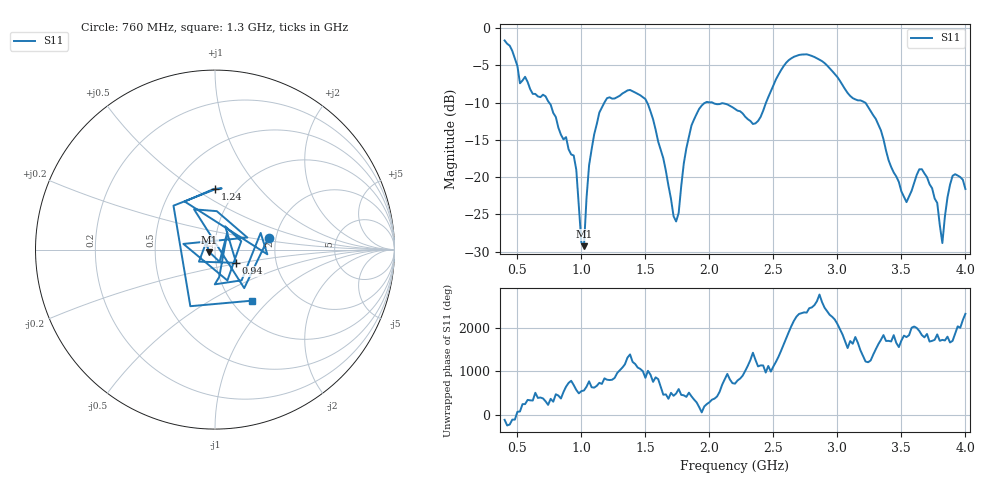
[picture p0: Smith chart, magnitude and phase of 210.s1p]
!Created with skrf (http://scikit-rf.org).
# Hz S RI R 50.0
!freq ReS11 ImS11
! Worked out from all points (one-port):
!   181 points, 400 MHz to 4 GHz, reference 50 ohm
!   lowest |S11| = -29.3 dB at 1.02 GHz (marker M1), VSWR 1.07, Z = 46.9 - j1.32 ohm
!   |S11| at or under -10 dB: 747.5 MHz to 1.18 GHz (432.2 MHz wide, 44.9 % of centre); 1.513 GHz to 1.97 GHz (456.3 MHz wide, 26.2 % of centre); 3.215 GHz to end of sweep (the widest 3 of 4)
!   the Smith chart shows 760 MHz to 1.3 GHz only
!   S11 on the Smith chart (normalised r, x): 760 MHz: 1.82, +0.27; 940 MHz: 1.25, -0.19; 1.24 GHz: 0.80, +0.60; 1.3 GHz: 1.23, -0.80
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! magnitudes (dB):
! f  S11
! 400 MHz  -1.7
! 520 MHz  -7.4
! 760 MHz  -10.3
! 860 MHz  -14.9
! 940 MHz  -17.1
! 1 GHz  -28.8
! 1.02 GHz  -29.3
! 1.06 GHz  -18.4
! 1.1 GHz  -14.3
! 1.24 GHz  -9.5
! 1.3 GHz  -9.1
! 1.5 GHz  -9.5
! 1.64 GHz  -17.5
! 1.72 GHz  -25.3
! 1.76 GHz  -24.8
! 1.82 GHz  -16.1
! 1.92 GHz  -10.8
! 2.2 GHz  -10.9
! 2.36 GHz  -12.8
! 2.66 GHz  -3.9
! 3.1 GHz  -9.1
! 3.3 GHz  -12.2
! 3.56 GHz  -22.6
! 3.66 GHz  -19.0
! 3.78 GHz  -23.5
! 3.82 GHz  -28.9
! 3.9 GHz  -19.8
! 4 GHz  -21.6
